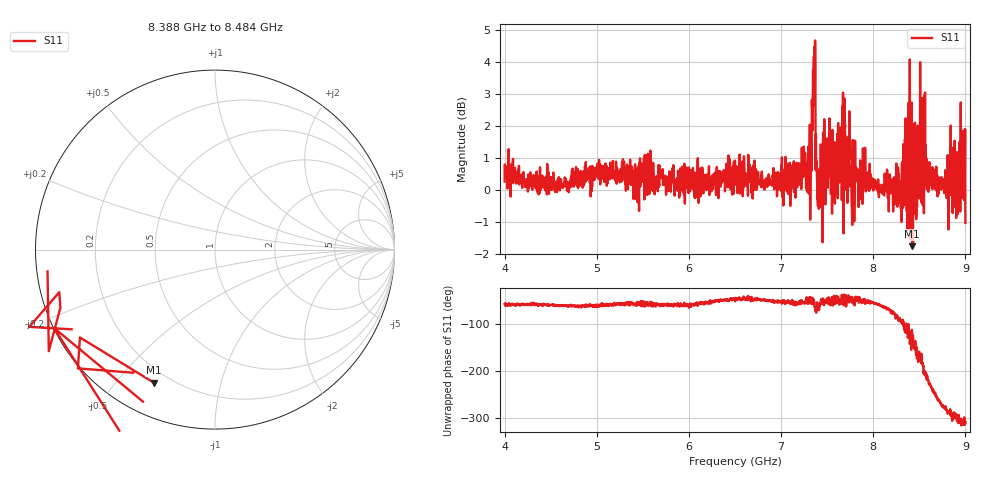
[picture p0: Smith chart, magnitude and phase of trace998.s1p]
! Created with skrf 1.8.0 (http://scikit-rf.org).
# Hz S RI R 50.0
!freq ReS11 ImS11
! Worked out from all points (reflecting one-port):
!   1601 points, 4 GHz to 9 GHz, reference 50 ohm
!   lowest |S11| = -1.8 dB at 8.422 GHz (marker M1), VSWR 9.87, Z = 7.12 - j31.6 ohm
!   phase of S11 starts at -56 deg and turns -252 deg over the sweep
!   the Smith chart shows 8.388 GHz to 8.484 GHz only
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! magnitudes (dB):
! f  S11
! 4 GHz  0.3
! 4.625 GHz  0.1
! 5.25 GHz  0.2
! 5.875 GHz  0.3
! 6.5 GHz  0.9
! 7.125 GHz  0.8
! 7.294 GHz  0.6
! 7.319 GHz  0.1
! 7.347 GHz  3.8
! 7.353 GHz  3.6
! 7.369 GHz  4.7
! 7.4 GHz  -0.5
! 7.512 GHz  1.3
! 7.591 GHz  1.4
! 7.669 GHz  1.9
! 7.75 GHz  0.5
! 8.297 GHz  0.0
! 8.334 GHz  0.2
! 8.356 GHz  2.2
! 8.375 GHz  0.6
! 8.422 GHz  -1.8
! 8.447 GHz  2.1
! 8.522 GHz  2.8
! 8.606 GHz  0.0
! 8.712 GHz  0.1
! 8.9 GHz  -0.9
! 8.972 GHz  0.5
! 9 GHz  -1.0
